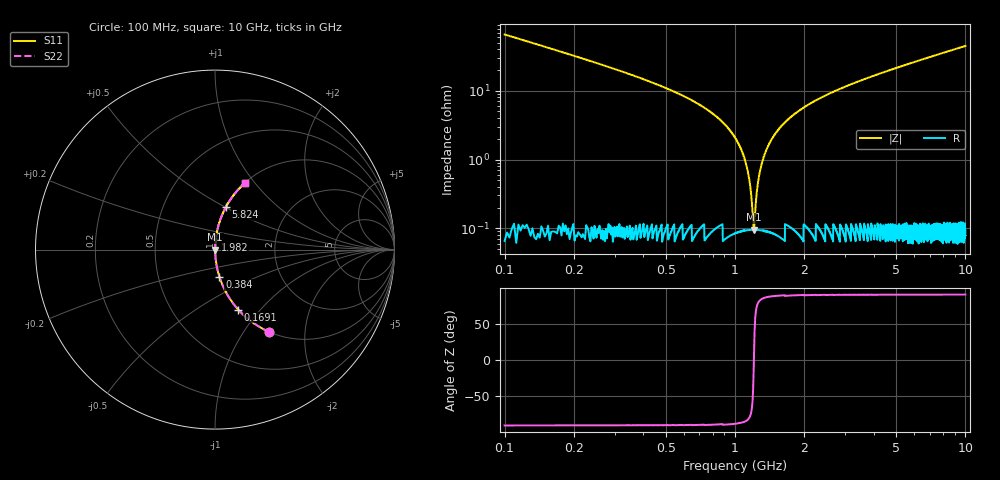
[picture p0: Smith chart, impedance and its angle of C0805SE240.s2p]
! AVX Thin Film Operation		Date: April 2012
! Description: Accu-P® Series, Thin Film, SMD, RF Capacitor
! Part Number: 08053J240FBTTR
!	100	MHz	-	10.05	GHz
!	Serial	Measurements
#	MHZ	S	MA	R	50
!	S11	S21	S12	S22
!	dB	Phase	dB	Phase	dB	Phase	dB	Phase
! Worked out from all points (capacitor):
!   4010 points, 100 MHz to 10 GHz, reference 50 ohm
!   read as one part in series: C = 24 pF near 149.4 MHz
!   lowest |Z| = 95.6 mohm at 1.206 GHz (marker M1)
!   series resonance near 1.207 GHz, so ESL is about 720 pH
!   S11 on the Smith chart (normalised r, x): 100 MHz: 1.00, -1.32; 169.1 MHz: 1.00, -0.77; 384 MHz: 1.00, -0.31; 1.982 GHz: 1.00, +0.11; 5.824 GHz: 1.00, +0.51; 10 GHz: 1.00, +0.90
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100  0.55 -56.6  0.835 33.3  0.835 33.3  0.55 -56.6
169.144  0.358 -68.9  0.933 21.0  0.933 21.0  0.358 -68.9
383.986  0.153 -80.9  0.987 8.8  0.987 8.8  0.153 -80.9
806.261  0.045 -86.3  0.998 2.6  0.998 2.6  0.045 -86.3
989  0.022 -86.4  0.999 1.3  0.999 1.3  0.022 -86.4
1097.655  0.011 -84.5  0.999 0.6  0.999 0.6  0.011 -84.5
1134.697  0.00688 -82.1  0.999 0.4  0.999 0.4  0.00688 -82.1
1176.677  0.00297 -72.2  0.999 0.2  0.999 0.2  0.00297 -72.2
1206.311  0.000905 -6.3  0.999 0.0  0.999 0.0  0.000905 -6.3
1238.414  0.00293 71.9  0.999 -0.2  0.999 -0.2  0.00293 71.9
1307.558  0.0088 83.6  0.999 -0.5  0.999 -0.5  0.0088 83.6
1391.519  0.016 85.8  0.999 -0.9  0.999 -0.9  0.016 85.8
1544.625  0.027 86.5  0.999 -1.6  0.999 -1.6  0.027 86.5
1752.058  0.042 86.4  0.998 -2.4  0.998 -2.4  0.042 86.4
1981.716  0.057 85.8  0.998 -3.2  0.998 -3.2  0.057 85.8
2564.505  0.09 84.2  0.995 -5.2  0.995 -5.2  0.09 84.2
3401.646  0.134 81.9  0.99 -7.7  0.99 -7.7  0.134 81.9
5051.235  0.212 77.5  0.976 -12.2  0.976 -12.2  0.212 77.5
5824.171  0.246 75.6  0.969 -14.2  0.969 -14.2  0.246 75.6
6700.823  0.283 73.4  0.958 -16.4  0.958 -16.4  0.283 73.4
8350.412  0.348 69.5  0.937 -20.4  0.937 -20.4  0.348 69.5
10000  0.409 65.8  0.912 -24.1  0.912 -24.1  0.409 65.8
